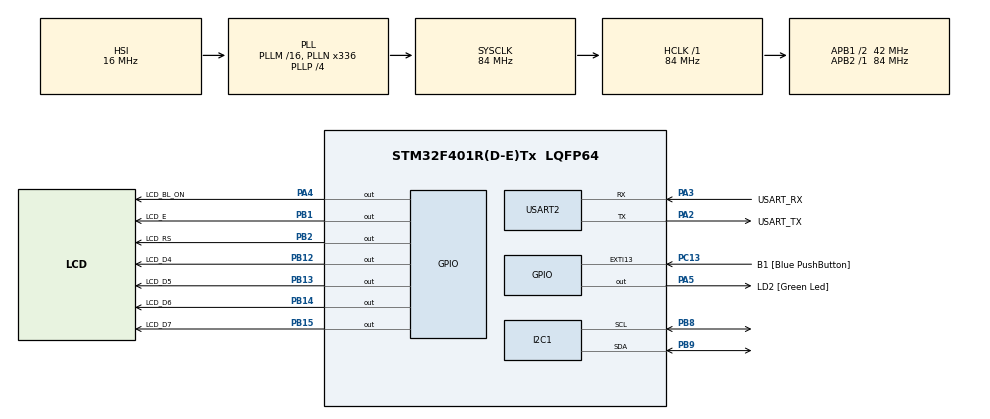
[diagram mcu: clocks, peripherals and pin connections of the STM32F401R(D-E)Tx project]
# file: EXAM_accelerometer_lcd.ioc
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Dma.I2C1_RX.0.Direction=DMA_PERIPH_TO_MEMORY
Dma.I2C1_RX.0.FIFOMode=DMA_FIFOMODE_DISABLE
Dma.I2C1_RX.0.Instance=DMA1_Stream0
Dma.I2C1_RX.0.MemDataAlignment=DMA_MDATAALIGN_BYTE
Dma.I2C1_RX.0.MemInc=DMA_MINC_ENABLE
Dma.I2C1_RX.0.Mode=DMA_NORMAL
Dma.I2C1_RX.0.PeriphDataAlignment=DMA_PDATAALIGN_BYTE
Dma.I2C1_RX.0.PeriphInc=DMA_PINC_DISABLE
Dma.I2C1_RX.0.Priority=DMA_PRIORITY_LOW
Dma.I2C1_TX.1.Direction=DMA_MEMORY_TO_PERIPH
Dma.I2C1_TX.1.FIFOMode=DMA_FIFOMODE_DISABLE
Dma.I2C1_TX.1.Instance=DMA1_Stream7
Dma.I2C1_TX.1.MemDataAlignment=DMA_MDATAALIGN_BYTE
Dma.I2C1_TX.1.MemInc=DMA_MINC_ENABLE
Dma.I2C1_TX.1.Mode=DMA_NORMAL
Dma.I2C1_TX.1.PeriphDataAlignment=DMA_PDATAALIGN_BYTE
Dma.I2C1_TX.1.PeriphInc=DMA_PINC_DISABLE
Dma.I2C1_TX.1.Priority=DMA_PRIORITY_LOW
Dma.Request0=I2C1_RX
Dma.Request1=I2C1_TX
Dma.Request2=USART2_TX
Dma.USART2_TX.2.Direction=DMA_MEMORY_TO_PERIPH
Dma.USART2_TX.2.FIFOMode=DMA_FIFOMODE_DISABLE
Dma.USART2_TX.2.Instance=DMA1_Stream6
Dma.USART2_TX.2.MemDataAlignment=DMA_MDATAALIGN_BYTE
Dma.USART2_TX.2.MemInc=DMA_MINC_ENABLE
Dma.USART2_TX.2.Mode=DMA_NORMAL
Dma.USART2_TX.2.PeriphDataAlignment=DMA_PDATAALIGN_BYTE
Dma.USART2_TX.2.PeriphInc=DMA_PINC_DISABLE
Dma.USART2_TX.2.Priority=DMA_PRIORITY_LOW
Mcu.Family=STM32F4
Mcu.Name=STM32F401R(D-E)Tx
Mcu.Package=LQFP64
NVIC.DMA1_Stream0_IRQn=true\:0\:0\:false\:false\:true\:false\:true\:true
NVIC.DMA1_Stream6_IRQn=true\:0\:0\:false\:false\:true\:false\:true\:true
NVIC.DMA1_Stream7_IRQn=true\:0\:0\:false\:false\:true\:false\:true\:true
NVIC.I2C1_ER_IRQn=true\:0\:0\:false\:false\:true\:true\:true\:true
NVIC.I2C1_EV_IRQn=true\:0\:0\:false\:false\:true\:true\:true\:true
NVIC.PriorityGroup=NVIC_PRIORITYGROUP_0
NVIC.TIM3_IRQn=true\:0\:0\:false\:false\:true\:true\:true\:true
NVIC.USART2_IRQn=true\:0\:0\:false\:false\:true\:true\:true\:true
PA13.GPIO_Label=TMS
PA13.Mode=Serial_Wire
PA13.Signal=SYS_JTMS-SWDIO
PA14.GPIO_Label=TCK
PA14.Mode=Serial_Wire
PA14.Signal=SYS_JTCK-SWCLK
PA2.GPIO_Label=USART_TX
PA2.GPIO_Mode=GPIO_MODE_AF_PP
PA2.GPIO_PuPd=GPIO_NOPULL
PA2.GPIO_Speed=GPIO_SPEED_FREQ_LOW
PA2.Mode=Asynchronous
PA2.Signal=USART2_TX
PA3.GPIO_Label=USART_RX
PA3.GPIO_Mode=GPIO_MODE_AF_PP
PA3.GPIO_PuPd=GPIO_NOPULL
PA3.GPIO_Speed=GPIO_SPEED_FREQ_LOW
PA3.Mode=Asynchronous
PA3.Signal=USART2_RX
PA4.GPIO_Label=LCD_BL_ON
PA4.Signal=GPIO_Output
PA5.GPIO_Label=LD2 [Green Led]
PA5.GPIO_Mode=GPIO_MODE_OUTPUT_PP
PA5.GPIO_PuPd=GPIO_NOPULL
PA5.GPIO_Speed=GPIO_SPEED_FREQ_LOW
PA5.Signal=GPIO_Output
PB1.GPIO_Label=LCD_E
PB1.Signal=GPIO_Output
PB12.GPIO_Label=LCD_D4
PB12.Signal=GPIO_Output
PB13.GPIO_Label=LCD_D5
PB13.Signal=GPIO_Output
PB14.GPIO_Label=LCD_D6
PB14.Signal=GPIO_Output
PB15.GPIO_Label=LCD_D7
PB15.Signal=GPIO_Output
PB2.GPIO_Label=LCD_RS
PB2.Signal=GPIO_Output
PB3.GPIO_Label=SWO
PB3.Signal=SYS_JTDO-SWO
PB8.Mode=I2C
PB8.Signal=I2C1_SCL
PB9.Mode=I2C
PB9.Signal=I2C1_SDA
PC13-ANTI_TAMP.GPIO_Label=B1 [Blue PushButton]
PC13-ANTI_TAMP.GPIO_ModeDefaultEXTI=GPIO_MODE_IT_FALLING
PC13-ANTI_TAMP.GPIO_PuPd=GPIO_NOPULL
PC13-ANTI_TAMP.Signal=GPXTI13
PC14-OSC32_IN.Mode=LSE-External-Oscillator
PC14-OSC32_IN.Signal=RCC_OSC32_IN
PC15-OSC32_OUT.Mode=LSE-External-Oscillator
PC15-OSC32_OUT.Signal=RCC_OSC32_OUT
PH0\ -\ OSC_IN.Mode=HSE-External-Clock-Source
PH0\ -\ OSC_IN.Signal=RCC_OSC_IN
PH1\ -\ OSC_OUT.Mode=HSE-External-Clock-Source
PH1\ -\ OSC_OUT.Signal=RCC_OSC_OUT
ProjectManager.HeapSize=0x200
ProjectManager.StackSize=0x400
ProjectManager.TargetToolchain=STM32CubeIDE
RCC.48MHZClocksFreq_Value=48000000
RCC.AHBFreq_Value=84000000
RCC.APB1CLKDivider=RCC_HCLK_DIV2
RCC.APB1Freq_Value=42000000
RCC.APB1TimFreq_Value=84000000
RCC.APB2Freq_Value=84000000
RCC.APB2TimFreq_Value=84000000
RCC.CortexFreq_Value=84000000
RCC.HCLKFreq_Value=84000000
RCC.HSE_VALUE=8000000
RCC.HSI_VALUE=16000000
RCC.PLLN=336
RCC.PLLP=RCC_PLLP_DIV4
RCC.PLLQ=7
RCC.SYSCLKFreq_VALUE=84000000
RCC.SYSCLKSource=RCC_SYSCLKSOURCE_PLLCLK
RCC.VCOOutputFreq_Value=336000000
TIM3.Period=9999
TIM3.Prescaler=8399
TIM3.TIM_MasterOutputTrigger=TIM_TRGO_UPDATE
USART2.VirtualMode=VM_ASYNC
VP_TIM3_VS_ClockSourceINT.Mode=Internal
board=NUCLEO-F401RE

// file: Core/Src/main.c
/* USER CODE BEGIN Header */
/**
  ******************************************************************************
  * @file           : main.c
  * @brief          : Main program body
  ******************************************************************************
  * @attention
  *
  * Copyright (c) 2024 STMicroelectronics.
  * All rights reserved.
  *
  * This software is licensed under terms that can be found in the LICENSE file
  * in the root directory of this software component.
  * If no LICENSE file comes with this software, it is provided AS-IS.
  *
  ******************************************************************************
  */
/* USER CODE END Header */
#include "main.h"

/* USER CODE BEGIN Includes */
#include "../inc/LIS2DE.h"
#include "../inc/PMDB16_LCD.h"
#include <stdio.h>
#include <string.h>
/* USER CODE END Includes */

/* USER CODE BEGIN PD */
#define ONE_SECOND 1000
#define DELAY_UART 100
#define DELAY_I2C 100
#define GREEN_LED_PIN GPIOA, GPIO_PIN_5
#define TOP_ROW 	0
#define BOTTOM_ROW 	1
/* USER CODE END PD */

I2C_HandleTypeDef hi2c1;
DMA_HandleTypeDef hdma_i2c1_rx;
DMA_HandleTypeDef hdma_i2c1_tx;

TIM_HandleTypeDef htim3;

UART_HandleTypeDef huart2;
DMA_HandleTypeDef hdma_usart2_tx;

/* USER CODE BEGIN PV */

// Registers of LIS2DE
uint8_t LIS2DE_AccAddr_READ;
uint8_t LIS2DE_AccAddr_WRITE;

// Characters
char str1[32];
char str2[32];
char message[64];  // the message is send 1 time since the DMA needs time to transmit it

// ACC buffer
uint8_t accBuffer[5];

// Reg address, 1Hz + XYZ enabled
uint8_t CTRL_REG1[2] = {0x20, 0b00010111};

// Reg address, no HPF (default value at startup)
uint8_t CTRL_REG2[2] = {0x21, 0b00000000};

// Reg address, continuous update + 2g FSR + self test disabled
uint8_t CTRL_REG4[2] = {0x23, 0b00000000};

// On page 22 it's written
uint8_t OUT_BASE_ADD_AUTOINCREMENT = 0x29 + 128;

/* USER CODE END PV */

void SystemClock_Config(void);
static void MX_GPIO_Init(void);
static void MX_DMA_Init(void);
static void MX_USART2_UART_Init(void);
static void MX_I2C1_Init(void);
static void MX_TIM3_Init(void);

/* USER CODE BEGIN 0 */

/**
 * @brief Timer Callback
 * 	      Begin the I²C callback
 *
 */
void HAL_TIM_PeriodElapsedCallback(TIM_HandleTypeDef *htim)
{
	if (htim->Instance == htim3.Instance)
	{
		// Toggle LED
		HAL_GPIO_TogglePin(GREEN_LED_PIN);

		if (HAL_I2C_Master_Transmit_DMA(&hi2c1, LIS2DE_AccAddr_WRITE, &OUT_BASE_ADD_AUTOINCREMENT, 1) != HAL_OK)
		{
			Error_Handler();
		}
	}
}

/**
 * @brief TX Callback from the accelerometer
 *        Ask for the values of the accelerometer
 */
void HAL_I2C_MasterTxCpltCallback(I2C_HandleTypeDef *hi2c)
{
	if (HAL_I2C_Master_Receive_DMA(&hi2c1, LIS2DE_AccAddr_READ, (uint8_t *) accBuffer, 5) != HAL_OK)
	{
		Error_Handler();
	}
}

/**
 * @brief RX Callback of the I²C
 *        Get all the values from the accelerometer
 */
void HAL_I2C_MasterRxCpltCallback(I2C_HandleTypeDef *hi2c)
{
	// Get values from buffer
	float x = accBuffer[0]/64.0;
	float y = accBuffer[2]/64.0;
	float z = accBuffer[4]/64.0;

	// UART Format result

	char uart_str3[32];
	snprintf(uart_str3, sizeof(uart_str3), "x: %.2f\r\ty: %.2f\r\tz: %.2f\r\n", x, y, z);

	// Transmit to remote terminal
	HAL_UART_Transmit_DMA(&huart2, (uint8_t *)uart_str3, strlen(uart_str3));

	// LCD Format Result
	char top_lcd_str[20];
	char bottom_lcd_str[16];
	snprintf(top_lcd_str, sizeof(top_lcd_str), "x: %.2f\r\ty: %.2f\r\n", x, y);
	snprintf(bottom_lcd_str, sizeof(bottom_lcd_str), "z: %.2f\r\n", z);

	// Write the string on the LCD display
	lcd_println(top_lcd_str, TOP_ROW);
	lcd_println(bottom_lcd_str, BOTTOM_ROW);
}

/**
 * @brief Automatically select the correct address for the accelerometer (LIS2DE or LIS2DE12)
 */
void FindLIS2DE (void)
{
	/** LIS2DE **/
	if (HAL_I2C_Master_Transmit(&hi2c1, LIS2DE_ADDR_READ, CTRL_REG1, sizeof(CTRL_REG1), 50) == HAL_OK)
	{
	  // Format the message
	  snprintf(str1, sizeof(str1), "LISDE ADR SELECTED\n");

	  // Set ADR
	  LIS2DE_AccAddr_READ  = LIS2DE_ADDR_READ;
	  LIS2DE_AccAddr_WRITE = LIS2DE_ADDR_WRITE;

	}

	/** LIS2DE12 **/
	else if (HAL_I2C_Master_Transmit(&hi2c1, LIS2DE12_ADDR_READ, CTRL_REG1, sizeof(CTRL_REG1), 50) == HAL_OK)
	{
	  // Format the message
	  snprintf(str1, sizeof(str1), "LISDE12 ADR SELECTED\n");

	  // Set ADR
	  LIS2DE_AccAddr_READ  = LIS2DE12_ADDR_READ;
	  LIS2DE_AccAddr_WRITE = LIS2DE12_ADDR_WRITE;

	}

	/** ERROR : Neither LIS2DE or LIS2DE12 **/
	else
	{
		// Format the message
		snprintf(str1, sizeof(str1), "ERROR : NO ADR SELECTED\n");

		// Handle error
		Error_Handler();

	}
}

/**
 * @brief Configure the register CTRL_REGx to get the value of the accelerometer
 */
void ConfigureLIS2DE (void)
{
	/** Set the register REG2 **/
	if (HAL_I2C_Master_Transmit(&hi2c1, LIS2DE_AccAddr_WRITE, CTRL_REG2, sizeof(CTRL_REG2), 50)  == HAL_OK)
	{
	  // Format message
	  snprintf(str2, sizeof(str2), "REG 2 CONFIGURED\n");
	}

	/** ERROR : Registers not correctly set **/
	else
	{
	  // Format message
	  snprintf(str2, sizeof(str2), "ERROR WHEN CONFIGURING REG 2\n");
	}
	HAL_UART_Transmit_DMA(&huart2, (uint8_t *)str2, strlen(str2));

	/** Set the register REG4 **/
	if (HAL_I2C_Master_Transmit(&hi2c1, LIS2DE_AccAddr_WRITE, CTRL_REG4, sizeof(CTRL_REG4), 50) == HAL_OK)
	{
	  // Format message
	  snprintf(str2, sizeof(str2), "REG 4 CONFIGURED\n");
	}

	/** ERROR : Registers not correctly set **/
	else
	{
	  // Format message
	  snprintf(str2, sizeof(str2), "ERROR WHEN CONFIGURING REG 4\n");
	}
	HAL_UART_Transmit_DMA(&huart2, (uint8_t *)str2, strlen(str2));
}

/* USER CODE END 0 */

int main(void)
{

  /* MCU Configuration--------------------------------------------------------*/

  /* Reset of all peripherals, Initializes the Flash interface and the Systick. */
  HAL_Init();

  /* Configure the system clock */
  SystemClock_Config();

  /* Initialize all configured peripherals */
  MX_GPIO_Init();
  MX_DMA_Init();
  MX_USART2_UART_Init();
  MX_I2C1_Init();
  MX_TIM3_Init();
  /* USER CODE BEGIN 2 */

  /** Configure and set the LIS2DE **/
  FindLIS2DE();
  ConfigureLIS2DE();

  /** Start TIM in IT mode **/
  HAL_TIM_Base_Start_IT(&htim3);

  /** Initialize the LCD controller **/
  lcd_initialize();

  /** Turn ON the LCD backlight **/
  lcd_backlight_ON();

  /* USER CODE END 2 */

  /* Infinite loop */
  while (1)
  {

  }
}

void SystemClock_Config(void)
{
  RCC_OscInitTypeDef RCC_OscInitStruct = {0};
  RCC_ClkInitTypeDef RCC_ClkInitStruct = {0};

  /** Configure the main internal regulator output voltage
  */
  __HAL_RCC_PWR_CLK_ENABLE();
  __HAL_PWR_VOLTAGESCALING_CONFIG(PWR_REGULATOR_VOLTAGE_SCALE2);

  /** Initializes the RCC Oscillators according to the specified parameters
  * in the RCC_OscInitTypeDef structure.
  */
  RCC_OscInitStruct.OscillatorType = RCC_OSCILLATORTYPE_HSI;
  RCC_OscInitStruct.HSIState = RCC_HSI_ON;
  RCC_OscInitStruct.HSICalibrationValue = RCC_HSICALIBRATION_DEFAULT;
  RCC_OscInitStruct.PLL.PLLState = RCC_PLL_ON;
  RCC_OscInitStruct.PLL.PLLSource = RCC_PLLSOURCE_HSI;
  RCC_OscInitStruct.PLL.PLLM = 16;
  RCC_OscInitStruct.PLL.PLLN = 336;
  RCC_OscInitStruct.PLL.PLLP = RCC_PLLP_DIV4;
  RCC_OscInitStruct.PLL.PLLQ = 7;
  if (HAL_RCC_OscConfig(&RCC_OscInitStruct) != HAL_OK)
  {
    Error_Handler();
  }

  /** Initializes the CPU, AHB and APB buses clocks
  */
  RCC_ClkInitStruct.ClockType = RCC_CLOCKTYPE_HCLK|RCC_CLOCKTYPE_SYSCLK
                              |RCC_CLOCKTYPE_PCLK1|RCC_CLOCKTYPE_PCLK2;
  RCC_ClkInitStruct.SYSCLKSource = RCC_SYSCLKSOURCE_PLLCLK;
  RCC_ClkInitStruct.AHBCLKDivider = RCC_SYSCLK_DIV1;
  RCC_ClkInitStruct.APB1CLKDivider = RCC_HCLK_DIV2;
  RCC_ClkInitStruct.APB2CLKDivider = RCC_HCLK_DIV1;

  if (HAL_RCC_ClockConfig(&RCC_ClkInitStruct, FLASH_LATENCY_2) != HAL_OK)
  {
    Error_Handler();
  }
}

static void MX_I2C1_Init(void)
{

  hi2c1.Instance = I2C1;
  hi2c1.Init.ClockSpeed = 100000;
  hi2c1.Init.DutyCycle = I2C_DUTYCYCLE_2;
  hi2c1.Init.OwnAddress1 = 0;
  hi2c1.Init.AddressingMode = I2C_ADDRESSINGMODE_7BIT;
  hi2c1.Init.DualAddressMode = I2C_DUALADDRESS_DISABLE;
  hi2c1.Init.OwnAddress2 = 0;
  hi2c1.Init.GeneralCallMode = I2C_GENERALCALL_DISABLE;
  hi2c1.Init.NoStretchMode = I2C_NOSTRETCH_DISABLE;
  if (HAL_I2C_Init(&hi2c1) != HAL_OK)
  {
    Error_Handler();
  }

}

static void MX_TIM3_Init(void)
{

  TIM_ClockConfigTypeDef sClockSourceConfig = {0};
  TIM_MasterConfigTypeDef sMasterConfig = {0};

  htim3.Instance = TIM3;
  htim3.Init.Prescaler = 8399;
  htim3.Init.CounterMode = TIM_COUNTERMODE_UP;
  htim3.Init.Period = 9999;
  htim3.Init.ClockDivision = TIM_CLOCKDIVISION_DIV1;
  htim3.Init.AutoReloadPreload = TIM_AUTORELOAD_PRELOAD_DISABLE;
  if (HAL_TIM_Base_Init(&htim3) != HAL_OK)
  {
    Error_Handler();
  }
  sClockSourceConfig.ClockSource = TIM_CLOCKSOURCE_INTERNAL;
  if (HAL_TIM_ConfigClockSource(&htim3, &sClockSourceConfig) != HAL_OK)
  {
    Error_Handler();
  }
  sMasterConfig.MasterOutputTrigger = TIM_TRGO_UPDATE;
  sMasterConfig.MasterSlaveMode = TIM_MASTERSLAVEMODE_DISABLE;
  if (HAL_TIMEx_MasterConfigSynchronization(&htim3, &sMasterConfig) != HAL_OK)
  {
    Error_Handler();
  }

}

static void MX_USART2_UART_Init(void)
{

  huart2.Instance = USART2;
  huart2.Init.BaudRate = 115200;
  huart2.Init.WordLength = UART_WORDLENGTH_8B;
  huart2.Init.StopBits = UART_STOPBITS_1;
  huart2.Init.Parity = UART_PARITY_NONE;
  huart2.Init.Mode = UART_MODE_TX_RX;
  huart2.Init.HwFlowCtl = UART_HWCONTROL_NONE;
  huart2.Init.OverSampling = UART_OVERSAMPLING_16;
  if (HAL_UART_Init(&huart2) != HAL_OK)
  {
    Error_Handler();
  }

}

static void MX_DMA_Init(void)
{

  /* DMA controller clock enable */
  __HAL_RCC_DMA1_CLK_ENABLE();

  /* DMA interrupt init */
  /* DMA1_Stream0_IRQn interrupt configuration */
  HAL_NVIC_SetPriority(DMA1_Stream0_IRQn, 0, 0);
  HAL_NVIC_EnableIRQ(DMA1_Stream0_IRQn);
  /* DMA1_Stream6_IRQn interrupt configuration */
  HAL_NVIC_SetPriority(DMA1_Stream6_IRQn, 0, 0);
  HAL_NVIC_EnableIRQ(DMA1_Stream6_IRQn);
  /* DMA1_Stream7_IRQn interrupt configuration */
  HAL_NVIC_SetPriority(DMA1_Stream7_IRQn, 0, 0);
  HAL_NVIC_EnableIRQ(DMA1_Stream7_IRQn);

}

static void MX_GPIO_Init(void)
{
  GPIO_InitTypeDef GPIO_InitStruct = {0};

  /* GPIO Ports Clock Enable */
  __HAL_RCC_GPIOC_CLK_ENABLE();
  __HAL_RCC_GPIOH_CLK_ENABLE();
  __HAL_RCC_GPIOA_CLK_ENABLE();
  __HAL_RCC_GPIOB_CLK_ENABLE();

  /*Configure GPIO pin Output Level */
  HAL_GPIO_WritePin(GPIOA, LCD_BL_ON_Pin|LD2_Pin, GPIO_PIN_RESET);

  /*Configure GPIO pin Output Level */
  HAL_GPIO_WritePin(GPIOB, LCD_E_Pin|LCD_RS_Pin|LCD_D4_Pin|LCD_D5_Pin
                          |LCD_D6_Pin|LCD_D7_Pin, GPIO_PIN_RESET);

  /*Configure GPIO pin : B1_Pin */
  GPIO_InitStruct.Pin = B1_Pin;
  GPIO_InitStruct.Mode = GPIO_MODE_IT_FALLING;
  GPIO_InitStruct.Pull = GPIO_NOPULL;
  HAL_GPIO_Init(B1_GPIO_Port, &GPIO_InitStruct);

  /*Configure GPIO pins : LCD_BL_ON_Pin LD2_Pin */
  GPIO_InitStruct.Pin = LCD_BL_ON_Pin|LD2_Pin;
  GPIO_InitStruct.Mode = GPIO_MODE_OUTPUT_PP;
  GPIO_InitStruct.Pull = GPIO_NOPULL;
  GPIO_InitStruct.Speed = GPIO_SPEED_FREQ_LOW;
  HAL_GPIO_Init(GPIOA, &GPIO_InitStruct);

  /*Configure GPIO pins : LCD_E_Pin LCD_RS_Pin LCD_D4_Pin LCD_D5_Pin
                           LCD_D6_Pin LCD_D7_Pin */
  GPIO_InitStruct.Pin = LCD_E_Pin|LCD_RS_Pin|LCD_D4_Pin|LCD_D5_Pin
                          |LCD_D6_Pin|LCD_D7_Pin;
  GPIO_InitStruct.Mode = GPIO_MODE_OUTPUT_PP;
  GPIO_InitStruct.Pull = GPIO_NOPULL;
  GPIO_InitStruct.Speed = GPIO_SPEED_FREQ_LOW;
  HAL_GPIO_Init(GPIOB, &GPIO_InitStruct);

}

void Error_Handler(void)
{
  __disable_irq();
  while (1)
  {
  }
}
